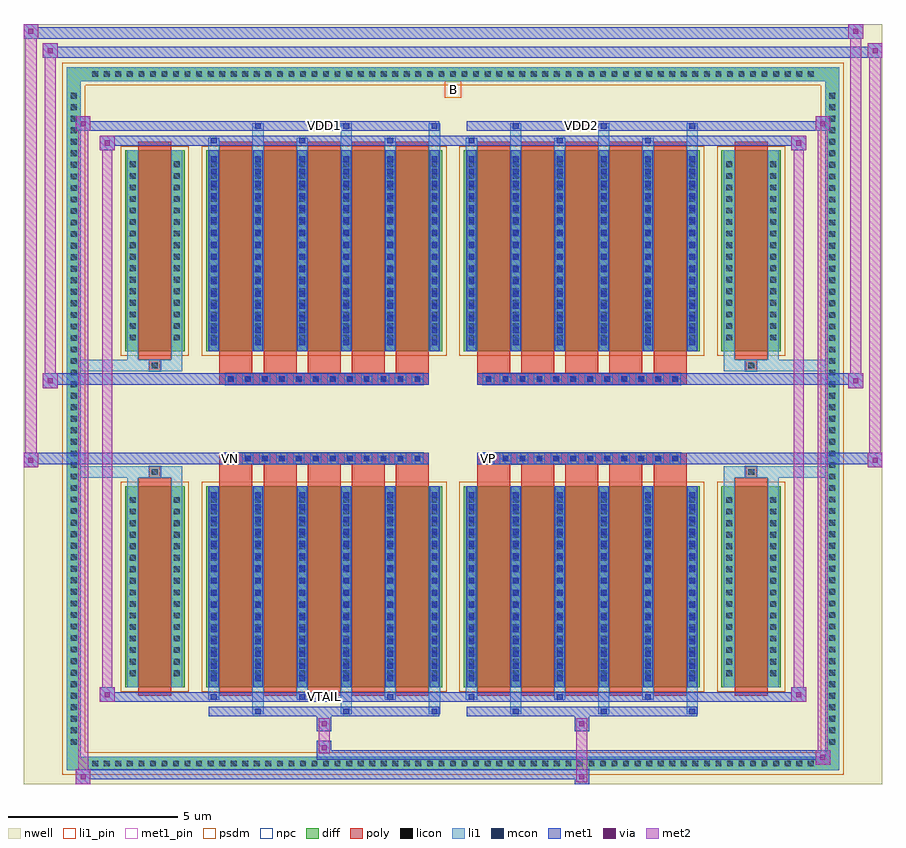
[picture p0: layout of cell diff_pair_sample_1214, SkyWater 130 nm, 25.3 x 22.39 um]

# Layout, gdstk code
import gdstk
lib = gdstk.Library(unit=1e-6, precision=5e-09)
def R(c, l, rs):  # rectangles x0, y0, x1, y1
    for r in rs: c.add(gdstk.rectangle(r[:2], r[2:], *l))
def A(c, l, x, y, w, h, nx, ny, dx, dy):  # array of equal rectangles
    R(c, l, [(x+i*dx, y+j*dy, x+i*dx+w, y+j*dy+h) for i in range(nx) for j in range(ny)])
def P(c, l, *ps):  # polygons
    for p in ps: c.add(gdstk.Polygon(p, *l))
nwell = (64, 20)
diff = (65, 20)
poly = (66, 20)
licon = (66, 44)
li1_pin = (67, 16)
li1 = (67, 20)
mcon = (67, 44)
met1_pin = (68, 16)
met1 = (68, 20)
via = (68, 44)
met2 = (69, 20)
psdm = (94, 20)
npc = (95, 20)

diff_pair_sample_1214 = lib.new_cell('diff_pair_sample_1214')
R(diff_pair_sample_1214, nwell, [(-12.65,-10.76,12.65,11.63), (-9.97,-8.95,-0.01,-0.805), (0.01,-8.95,9.97,-0.805), (-9.97,0.805,-0.01,8.95), (0.01,0.805,9.97,8.95)])
A(diff_pair_sample_1214, diff, -10.745, -10.36, 0.41, 0.41, 63, 2, 0.34, 20.31)
A(diff_pair_sample_1214, diff, -11.38, -9.725, 0.41, 0.41, 1, 57, 0, 0.34)
A(diff_pair_sample_1214, diff, 10.97, -9.725, 0.41, 0.41, 1, 57, 0, 0.34)
R(diff_pair_sample_1214, diff, [(-10.745,-10.36,10.745,-9.95), (-11.38,-9.725,-10.97,9.725), (10.97,-9.725,11.38,9.725), (-9.66,-7.905,-7.91,-1.985), (-7.27,-7.905,-0.32,-1.985), (0.32,-7.905,7.27,-1.985), (7.91,-7.905,9.66,-1.985), (-9.66,1.985,-7.91,7.905), (-7.27,1.985,-0.32,7.905), (0.32,1.985,7.27,7.905), (7.91,1.985,9.66,7.905), (-10.745,9.95,10.745,10.36)])
P(diff_pair_sample_1214, diff, [(11.38,10.36),(-11.38,10.36),(-11.38,-9.95),(-10.97,-9.95),(-10.97,9.95),(10.97,9.95),(10.97,-9.95),(-10.97,-9.95),(-11.38,-9.95),(-11.38,-10.36),(11.38,-10.36)])
A(diff_pair_sample_1214, poly, -6.88, -8.155, 0.97, 6.42, 5, 2, 1.3, 9.89)
A(diff_pair_sample_1214, poly, 0.71, -8.155, 0.97, 6.42, 5, 2, 1.3, 9.89)
A(diff_pair_sample_1214, poly, -6.88, -1.735, 0.97, 0.4, 5, 2, 1.3, 3.07)
A(diff_pair_sample_1214, poly, 0.71, -1.735, 0.97, 0.4, 5, 2, 1.3, 3.07)
A(diff_pair_sample_1214, poly, -6.71, -1.335, 0.33, 0.33, 12, 2, 0.5, 2.34)
A(diff_pair_sample_1214, poly, 0.88, -1.335, 0.33, 0.33, 12, 2, 0.5, 2.34)
R(diff_pair_sample_1214, poly, [(-9.27,-8.155,-8.3,-1.735), (8.3,-8.155,9.27,-1.735), (-8.95,-1.735,-8.62,-1.405), (-8.95,-1.735,-8.62,-1.405), (8.62,-1.735,8.95,-1.405), (8.62,-1.735,8.95,-1.405), (-6.88,-1.335,-0.71,-1.005), (0.71,-1.335,6.88,-1.005), (-6.88,1.005,-0.71,1.335), (0.71,1.005,6.88,1.335), (-8.95,1.405,-8.62,1.735), (-8.95,1.405,-8.62,1.735), (8.62,1.405,8.95,1.735), (8.62,1.405,8.95,1.735), (-9.27,1.735,-8.3,8.155), (8.3,1.735,9.27,8.155)])
A(diff_pair_sample_1214, licon, -10.625, -10.24, 0.17, 0.17, 63, 2, 0.34, 20.31)
A(diff_pair_sample_1214, licon, -11.26, -9.605, 0.17, 0.17, 1, 57, 0, 0.34)
A(diff_pair_sample_1214, licon, 11.09, -9.605, 0.17, 0.17, 1, 57, 0, 0.34)
A(diff_pair_sample_1214, licon, -9.52, -7.58, 0.17, 0.17, 1, 16, 0, 0.34)
A(diff_pair_sample_1214, licon, -8.22, -7.58, 0.17, 0.17, 1, 16, 0, 0.34)
A(diff_pair_sample_1214, licon, -7.13, -7.58, 0.17, 0.17, 6, 16, 1.3, 0.34)
A(diff_pair_sample_1214, licon, 0.46, -7.58, 0.17, 0.17, 6, 16, 1.3, 0.34)
A(diff_pair_sample_1214, licon, 8.05, -7.58, 0.17, 0.17, 1, 16, 0, 0.34)
A(diff_pair_sample_1214, licon, 9.35, -7.58, 0.17, 0.17, 1, 16, 0, 0.34)
A(diff_pair_sample_1214, licon, -6.63, -1.255, 0.17, 0.17, 12, 2, 0.5, 2.34)
A(diff_pair_sample_1214, licon, 0.96, -1.255, 0.17, 0.17, 12, 2, 0.5, 2.34)
A(diff_pair_sample_1214, licon, -9.52, 2.31, 0.17, 0.17, 1, 16, 0, 0.34)
A(diff_pair_sample_1214, licon, -8.22, 2.31, 0.17, 0.17, 1, 16, 0, 0.34)
A(diff_pair_sample_1214, licon, -7.13, 2.31, 0.17, 0.17, 6, 16, 1.3, 0.34)
A(diff_pair_sample_1214, licon, 0.46, 2.31, 0.17, 0.17, 6, 16, 1.3, 0.34)
A(diff_pair_sample_1214, licon, 8.05, 2.31, 0.17, 0.17, 1, 16, 0, 0.34)
A(diff_pair_sample_1214, licon, 9.35, 2.31, 0.17, 0.17, 1, 16, 0, 0.34)
R(diff_pair_sample_1214, licon, [(-8.87,-1.655,-8.7,-1.485), (8.7,-1.655,8.87,-1.485), (-8.87,1.485,-8.7,1.655), (8.7,1.485,8.87,1.655)])
R(diff_pair_sample_1214, li1_pin, [(-0.25,9.45,0.25,9.95)])
A(diff_pair_sample_1214, li1, -10.705, -10.32, 0.33, 0.33, 63, 2, 0.34, 20.31)
A(diff_pair_sample_1214, li1, -11.34, -9.685, 0.33, 0.33, 1, 57, 0, 0.34)
A(diff_pair_sample_1214, li1, 11.01, -9.685, 0.33, 0.33, 1, 57, 0, 0.34)
A(diff_pair_sample_1214, li1, -5.91, -8.71, 0.33, 0.805, 3, 2, 2.6, 16.615)
A(diff_pair_sample_1214, li1, -5.83, -8.71, 0.17, 0.17, 3, 2, 2.6, 17.25)
A(diff_pair_sample_1214, li1, 1.68, -8.71, 0.33, 0.805, 3, 2, 2.6, 16.615)
A(diff_pair_sample_1214, li1, 1.76, -8.71, 0.17, 0.17, 3, 2, 2.6, 17.25)
A(diff_pair_sample_1214, li1, -7.21, -8.28, 0.33, 0.375, 3, 2, 2.6, 16.185)
A(diff_pair_sample_1214, li1, -7.13, -8.28, 0.17, 0.17, 3, 2, 2.6, 16.39)
A(diff_pair_sample_1214, li1, 0.38, -8.28, 0.33, 0.375, 3, 2, 2.6, 16.185)
A(diff_pair_sample_1214, li1, 0.46, -8.28, 0.17, 0.17, 3, 2, 2.6, 16.39)
A(diff_pair_sample_1214, li1, -7.21, -7.905, 0.33, 5.92, 6, 2, 1.3, 9.89)
A(diff_pair_sample_1214, li1, 0.38, -7.905, 0.33, 5.92, 6, 2, 1.3, 9.89)
A(diff_pair_sample_1214, li1, -7.13, -7.73, 0.17, 0.17, 6, 16, 1.3, 0.36)
A(diff_pair_sample_1214, li1, -7.13, -7.73, 0.17, 5.57, 6, 2, 1.3, 9.89)
A(diff_pair_sample_1214, li1, 0.46, -7.73, 0.17, 0.17, 6, 16, 1.3, 0.36)
A(diff_pair_sample_1214, li1, 0.46, -7.73, 0.17, 5.57, 6, 2, 1.3, 9.89)
A(diff_pair_sample_1214, li1, -9.6, -7.66, 0.33, 0.33, 1, 16, 0, 0.34)
A(diff_pair_sample_1214, li1, -8.3, -7.66, 0.33, 0.33, 1, 16, 0, 0.34)
A(diff_pair_sample_1214, li1, -7.21, -7.66, 0.33, 0.33, 6, 16, 1.3, 0.34)
A(diff_pair_sample_1214, li1, 0.38, -7.66, 0.33, 0.33, 6, 16, 1.3, 0.34)
A(diff_pair_sample_1214, li1, 7.97, -7.66, 0.33, 0.33, 1, 16, 0, 0.34)
A(diff_pair_sample_1214, li1, 9.27, -7.66, 0.33, 0.33, 1, 16, 0, 0.34)
A(diff_pair_sample_1214, li1, -6.71, -1.335, 0.33, 0.33, 12, 2, 0.5, 2.34)
A(diff_pair_sample_1214, li1, 0.88, -1.335, 0.33, 0.33, 12, 2, 0.5, 2.34)
A(diff_pair_sample_1214, li1, -7.13, 2.16, 0.17, 0.17, 6, 16, 1.3, 0.36)
A(diff_pair_sample_1214, li1, 0.46, 2.16, 0.17, 0.17, 6, 16, 1.3, 0.36)
A(diff_pair_sample_1214, li1, -9.6, 2.23, 0.33, 0.33, 1, 16, 0, 0.34)
A(diff_pair_sample_1214, li1, -8.3, 2.23, 0.33, 0.33, 1, 16, 0, 0.34)
A(diff_pair_sample_1214, li1, -7.21, 2.23, 0.33, 0.33, 6, 16, 1.3, 0.34)
A(diff_pair_sample_1214, li1, 0.38, 2.23, 0.33, 0.33, 6, 16, 1.3, 0.34)
A(diff_pair_sample_1214, li1, 7.97, 2.23, 0.33, 0.33, 1, 16, 0, 0.34)
A(diff_pair_sample_1214, li1, 9.27, 2.23, 0.33, 0.33, 1, 16, 0, 0.34)
R(diff_pair_sample_1214, li1, [(-11.38,-10.36,-10.97,-9.95), (-11.38,-10.36,-10.97,-9.95), (-10.97,-10.36,10.97,-9.95), (10.97,-10.36,11.38,-9.95), (10.97,-10.36,11.38,-9.95), (-11.38,-9.95,-10.97,9.95), (10.97,-9.95,11.38,9.95), (-9.6,-7.905,-9.27,-1.985), (-8.3,-7.905,-7.97,-1.985), (7.97,-7.905,8.3,-1.985), (9.27,-7.905,9.6,-1.985), (-9.6,-1.985,-9.27,-1.405), (-8.3,-1.985,-7.97,-1.405), (7.97,-1.985,8.3,-1.405), (9.27,-1.985,9.6,-1.405), (-11.38,-1.735,-8.95,-1.405), (-9.6,-1.735,-8.95,-1.405), (-8.95,-1.735,-8.62,-1.405), (-8.62,-1.735,-7.97,-1.405), (7.97,-1.735,8.62,-1.405), (8.62,-1.735,8.95,-1.405), (8.62,-1.735,11.38,-1.405), (8.95,-1.735,9.6,-1.405), (-11.38,1.405,-8.95,1.735), (-9.6,1.405,-8.95,1.735), (-9.6,1.405,-9.27,1.985), (-8.95,1.405,-8.62,1.735), (-8.62,1.405,-7.97,1.735), (-8.3,1.405,-7.97,1.985), (7.97,1.405,8.62,1.735), (7.97,1.405,8.3,1.985), (8.62,1.405,8.95,1.735), (8.62,1.405,11.38,1.735), (8.95,1.405,9.6,1.735), (9.27,1.405,9.6,1.985), (-9.6,1.985,-9.27,7.905), (-8.3,1.985,-7.97,7.905), (7.97,1.985,8.3,7.905), (9.27,1.985,9.6,7.905), (-11.38,9.95,-10.97,10.36), (-11.38,9.95,-10.97,10.36), (-10.97,9.95,10.97,10.36), (10.97,9.95,11.38,10.36), (10.97,9.95,11.38,10.36)])
A(diff_pair_sample_1214, mcon, -5.83, -8.71, 0.17, 0.17, 3, 2, 2.6, 17.25)
A(diff_pair_sample_1214, mcon, 1.76, -8.71, 0.17, 0.17, 3, 2, 2.6, 17.25)
A(diff_pair_sample_1214, mcon, -7.13, -8.28, 0.17, 0.17, 3, 2, 2.6, 16.39)
A(diff_pair_sample_1214, mcon, 0.46, -8.28, 0.17, 0.17, 3, 2, 2.6, 16.39)
A(diff_pair_sample_1214, mcon, -7.13, -7.73, 0.17, 0.17, 6, 16, 1.3, 0.36)
A(diff_pair_sample_1214, mcon, 0.46, -7.73, 0.17, 0.17, 6, 16, 1.3, 0.36)
A(diff_pair_sample_1214, mcon, -6.63, -1.255, 0.17, 0.17, 12, 2, 0.5, 2.34)
A(diff_pair_sample_1214, mcon, 0.96, -1.255, 0.17, 0.17, 12, 2, 0.5, 2.34)
A(diff_pair_sample_1214, mcon, -7.13, 2.16, 0.17, 0.17, 6, 16, 1.3, 0.36)
A(diff_pair_sample_1214, mcon, 0.46, 2.16, 0.17, 0.17, 6, 16, 1.3, 0.36)
R(diff_pair_sample_1214, met1_pin, [(-3.93,-8.32,-3.66,-8.05), (-6.68,-1.295,-6.41,-1.025), (0.91,-1.295,1.18,-1.025), (-3.93,8.5,-3.66,8.77), (3.66,8.5,3.93,8.77)])
A(diff_pair_sample_1214, met1, -5.89, -8.77, 0.29, 0.29, 3, 2, 2.6, 17.25)
A(diff_pair_sample_1214, met1, 1.7, -8.77, 0.29, 0.29, 3, 2, 2.6, 17.25)
A(diff_pair_sample_1214, met1, -7.19, -8.34, 0.29, 0.29, 3, 2, 2.6, 16.39)
A(diff_pair_sample_1214, met1, 0.4, -8.34, 0.29, 0.29, 3, 2, 2.6, 16.39)
A(diff_pair_sample_1214, met1, -7.19, -7.905, 0.29, 5.92, 6, 2, 1.3, 9.89)
A(diff_pair_sample_1214, met1, 0.4, -7.905, 0.29, 5.92, 6, 2, 1.3, 9.89)
A(diff_pair_sample_1214, met1, -7.19, -7.79, 0.29, 0.29, 6, 16, 1.3, 0.36)
A(diff_pair_sample_1214, met1, 0.4, -7.79, 0.29, 0.29, 6, 16, 1.3, 0.36)
A(diff_pair_sample_1214, met1, -6.69, -1.315, 0.29, 0.29, 12, 2, 0.5, 2.34)
A(diff_pair_sample_1214, met1, 0.9, -1.315, 0.29, 0.29, 12, 2, 0.5, 2.34)
A(diff_pair_sample_1214, met1, -7.19, 2.1, 0.29, 0.29, 6, 16, 1.3, 0.36)
A(diff_pair_sample_1214, met1, 0.4, 2.1, 0.29, 0.29, 6, 16, 1.3, 0.36)
R(diff_pair_sample_1214, met1, [(-11.11,-10.76,-10.68,-10.33), (3.58,-10.76,4.01,-10.33), (-11.11,-10.62,4.01,-10.33), (10.68,-10.19,11.11,-9.76), (-4.01,-10.05,11.11,-9.76), (-4.01,-9.91,-3.58,-9.48), (-4.01,-9.2,-3.58,-8.77), (3.58,-9.2,4.01,-8.77), (-7.19,-8.77,-0.4,-8.48), (0.4,-8.77,7.19,-8.48), (-10.4,-8.34,-9.97,-7.91), (-10.4,-8.34,-7.19,-8.05), (-7.19,-8.34,-0.4,-8.05), (-0.4,-8.34,0.4,-8.05), (0.4,-8.34,7.19,-8.05), (7.19,-8.34,10.4,-8.05), (9.97,-8.34,10.4,-7.91), (-12.65,-1.435,-12.22,-1.005), (12.22,-1.435,12.65,-1.005), (-12.65,-1.335,-0.71,-1.005), (-6.88,-1.335,-0.71,-1.005), (0.71,-1.335,6.88,-1.005), (0.71,-1.335,12.65,-1.005), (-12.08,0.905,-11.65,1.335), (11.65,0.905,12.08,1.335), (-12.08,1.005,-6.88,1.335), (-6.88,1.005,-0.71,1.335), (0.71,1.005,6.88,1.335), (6.88,1.005,12.08,1.335), (-10.4,7.91,-9.97,8.34), (9.97,7.91,10.4,8.34), (-10.4,8.05,-7.19,8.34), (-7.19,8.05,-0.4,8.34), (-0.4,8.05,0.4,8.34), (0.4,8.05,7.19,8.34), (7.19,8.05,10.4,8.34), (-11.11,8.48,-10.68,8.91), (-11.11,8.48,-7.19,8.77), (-7.19,8.48,-0.4,8.77), (0.4,8.48,7.19,8.77), (7.19,8.48,11.11,8.77), (10.68,8.48,11.11,8.91), (-12.08,10.63,-11.65,11.06), (-12.08,10.63,-9.97,10.96), (-9.97,10.63,9.97,10.96), (9.97,10.63,12.65,10.96), (12.22,10.63,12.65,11.06), (-12.65,11.2,-12.22,11.63), (-12.65,11.2,-9.97,11.53), (-9.97,11.2,9.97,11.53), (9.97,11.2,12.08,11.53), (11.65,11.2,12.08,11.63)])
R(diff_pair_sample_1214, via, [(-10.97,-10.62,-10.82,-10.47), (3.72,-10.62,3.87,-10.47), (10.82,-10.05,10.97,-9.9), (-3.87,-9.77,-3.72,-9.62), (-3.87,-9.06,-3.72,-8.91), (3.72,-9.06,3.87,-8.91), (-10.26,-8.2,-10.11,-8.05), (10.11,-8.2,10.26,-8.05), (-12.51,-1.295,-12.36,-1.145), (12.36,-1.295,12.51,-1.145), (-11.94,1.045,-11.79,1.195), (11.79,1.045,11.94,1.195), (-10.26,8.05,-10.11,8.2), (10.11,8.05,10.26,8.2), (-10.97,8.62,-10.82,8.77), (10.82,8.62,10.97,8.77), (-11.94,10.77,-11.79,10.92), (12.36,10.77,12.51,10.92), (-12.51,11.34,-12.36,11.49), (11.79,11.34,11.94,11.49)])
R(diff_pair_sample_1214, met2, [(-11.11,-10.76,-10.68,-10.33), (-11.04,-10.76,-10.75,8.91), (-10.75,-10.76,-10.68,-10.33), (-11.06,-10.71,-10.73,-10.38), (3.63,-10.71,3.96,-10.38), (3.63,-10.38,3.96,-9.15), (10.68,-10.19,11.11,-9.76), (10.75,-10.19,11.04,8.91), (11.04,-10.19,11.11,-9.76), (10.73,-10.14,11.06,-9.81), (-3.96,-9.86,-3.63,-9.53), (-3.96,-9.53,-3.63,-9.15), (-3.96,-9.15,-3.63,-8.82), (3.63,-9.15,3.96,-8.82), (-10.4,-8.34,-9.97,-7.91), (-10.33,-8.34,-10.04,8.34), (-10.04,-8.34,-9.97,-7.91), (9.97,-8.34,10.4,-7.91), (10.04,-8.34,10.33,8.34), (10.33,-8.34,10.4,-7.91), (-10.35,-8.29,-10.02,-7.96), (10.02,-8.29,10.35,-7.96), (-12.65,-1.435,-12.22,-1.005), (-12.6,-1.435,-12.27,11.63), (-12.27,-1.435,-12.22,-1.005), (12.22,-1.435,12.65,-1.005), (12.27,-1.435,12.6,11.06), (12.6,-1.435,12.65,-1.005), (-12.6,-1.385,-12.27,-1.055), (12.27,-1.385,12.6,-1.055), (-12.08,0.905,-11.65,1.335), (-12.03,0.905,-11.7,11.06), (-11.7,0.905,-11.65,1.335), (11.65,0.905,12.08,1.335), (11.7,0.905,12.03,11.63), (12.03,0.905,12.08,1.335), (-12.03,0.955,-11.7,1.285), (11.7,0.955,12.03,1.285), (-10.4,7.91,-9.97,8.34), (-10.04,7.91,-9.97,8.34), (9.97,7.91,10.4,8.34), (10.33,7.91,10.4,8.34), (-10.35,7.96,-10.02,8.29), (10.02,7.96,10.35,8.29), (-11.11,8.48,-10.68,8.91), (-10.75,8.48,-10.68,8.91), (10.68,8.48,11.11,8.91), (11.04,8.48,11.11,8.91), (-11.06,8.53,-10.73,8.86), (10.73,8.53,11.06,8.86), (-12.08,10.63,-11.65,11.06), (-11.7,10.63,-11.65,11.06), (12.22,10.63,12.65,11.06), (12.6,10.63,12.65,11.06), (-12.03,10.68,-11.7,11.01), (12.27,10.68,12.6,11.01), (-12.65,11.2,-12.22,11.63), (-12.27,11.2,-12.22,11.63), (11.65,11.2,12.08,11.63), (12.03,11.2,12.08,11.63), (-12.6,11.25,-12.27,11.58), (11.7,11.25,12.03,11.58)])
R(diff_pair_sample_1214, psdm, [(-9.79,-8.035,-7.78,-1.855), (-7.4,-8.035,-0.19,-1.855), (0.19,-8.035,7.4,-1.855), (7.78,-8.035,9.79,-1.855), (-9.79,1.855,-7.78,8.035), (-7.4,1.855,-0.19,8.035), (0.19,1.855,7.4,8.035), (7.78,1.855,9.79,8.035)])
P(diff_pair_sample_1214, psdm, [(11.51,10.49),(-11.51,10.49),(-11.51,-9.82),(-10.84,-9.82),(-10.84,9.82),(10.84,9.82),(10.84,-9.82),(-10.84,-9.82),(-11.51,-9.82),(-11.51,-10.49),(11.51,-10.49)])
A(diff_pair_sample_1214, npc, -6.73, -1.355, 0.37, 0.37, 12, 2, 0.5, 2.34)
A(diff_pair_sample_1214, npc, 0.86, -1.355, 0.37, 0.37, 12, 2, 0.5, 2.34)
R(diff_pair_sample_1214, npc, [(-8.97,-1.755,-8.6,-1.385), (8.6,-1.755,8.97,-1.385), (-6.73,-1.355,-5.86,-0.985), (-6.73,-1.355,-5.86,-0.985), (-6.23,-1.355,-5.36,-0.985), (-6.23,-1.355,-5.36,-0.985), (-5.73,-1.355,-4.86,-0.985), (-5.73,-1.355,-4.86,-0.985), (-5.23,-1.355,-4.36,-0.985), (-5.23,-1.355,-4.36,-0.985), (-4.73,-1.355,-3.86,-0.985), (-4.73,-1.355,-3.86,-0.985), (-4.23,-1.355,-3.36,-0.985), (-4.23,-1.355,-3.36,-0.985), (-3.73,-1.355,-2.86,-0.985), (-3.73,-1.355,-2.86,-0.985), (-3.23,-1.355,-2.36,-0.985), (-3.23,-1.355,-2.36,-0.985), (-2.73,-1.355,-1.86,-0.985), (-2.73,-1.355,-1.86,-0.985), (-2.23,-1.355,-1.36,-0.985), (-2.23,-1.355,-1.36,-0.985), (-1.73,-1.355,-0.86,-0.985), (-1.73,-1.355,-0.86,-0.985), (0.86,-1.355,1.73,-0.985), (0.86,-1.355,1.73,-0.985), (1.36,-1.355,2.23,-0.985), (1.36,-1.355,2.23,-0.985), (1.86,-1.355,2.73,-0.985), (1.86,-1.355,2.73,-0.985), (2.36,-1.355,3.23,-0.985), (2.36,-1.355,3.23,-0.985), (2.86,-1.355,3.73,-0.985), (2.86,-1.355,3.73,-0.985), (3.36,-1.355,4.23,-0.985), (3.36,-1.355,4.23,-0.985), (3.86,-1.355,4.73,-0.985), (3.86,-1.355,4.73,-0.985), (4.36,-1.355,5.23,-0.985), (4.36,-1.355,5.23,-0.985), (4.86,-1.355,5.73,-0.985), (4.86,-1.355,5.73,-0.985), (5.36,-1.355,6.23,-0.985), (5.36,-1.355,6.23,-0.985), (5.86,-1.355,6.73,-0.985), (5.86,-1.355,6.73,-0.985), (-6.73,0.985,-5.86,1.355), (-6.73,0.985,-5.86,1.355), (-6.23,0.985,-5.36,1.355), (-6.23,0.985,-5.36,1.355), (-5.73,0.985,-4.86,1.355), (-5.73,0.985,-4.86,1.355), (-5.23,0.985,-4.36,1.355), (-5.23,0.985,-4.36,1.355), (-4.73,0.985,-3.86,1.355), (-4.73,0.985,-3.86,1.355), (-4.23,0.985,-3.36,1.355), (-4.23,0.985,-3.36,1.355), (-3.73,0.985,-2.86,1.355), (-3.73,0.985,-2.86,1.355), (-3.23,0.985,-2.36,1.355), (-3.23,0.985,-2.36,1.355), (-2.73,0.985,-1.86,1.355), (-2.73,0.985,-1.86,1.355), (-2.23,0.985,-1.36,1.355), (-2.23,0.985,-1.36,1.355), (-1.73,0.985,-0.86,1.355), (-1.73,0.985,-0.86,1.355), (0.86,0.985,1.73,1.355), (0.86,0.985,1.73,1.355), (1.36,0.985,2.23,1.355), (1.36,0.985,2.23,1.355), (1.86,0.985,2.73,1.355), (1.86,0.985,2.73,1.355), (2.36,0.985,3.23,1.355), (2.36,0.985,3.23,1.355), (2.86,0.985,3.73,1.355), (2.86,0.985,3.73,1.355), (3.36,0.985,4.23,1.355), (3.36,0.985,4.23,1.355), (3.86,0.985,4.73,1.355), (3.86,0.985,4.73,1.355), (4.36,0.985,5.23,1.355), (4.36,0.985,5.23,1.355), (4.86,0.985,5.73,1.355), (4.86,0.985,5.73,1.355), (5.36,0.985,6.23,1.355), (5.36,0.985,6.23,1.355), (5.86,0.985,6.73,1.355), (5.86,0.985,6.73,1.355), (-8.97,1.385,-8.6,1.755), (8.6,1.385,8.97,1.755)])
diff_pair_sample_1214.add(gdstk.Label('VTAIL', (-3.795,-8.185), layer=68, texttype=5))
diff_pair_sample_1214.add(gdstk.Label('VN', (-6.545,-1.16), layer=68, texttype=5))
diff_pair_sample_1214.add(gdstk.Label('VP', (1.045,-1.16), layer=68, texttype=5))
diff_pair_sample_1214.add(gdstk.Label('B', (0,9.7), layer=67, texttype=5))
diff_pair_sample_1214.add(gdstk.Label('VDD2', (3.795,8.635), layer=68, texttype=5))
diff_pair_sample_1214.add(gdstk.Label('VDD1', (-3.795,8.635), layer=68, texttype=5))

lib.write_gds('diff_pair_sample_1214.gds')
